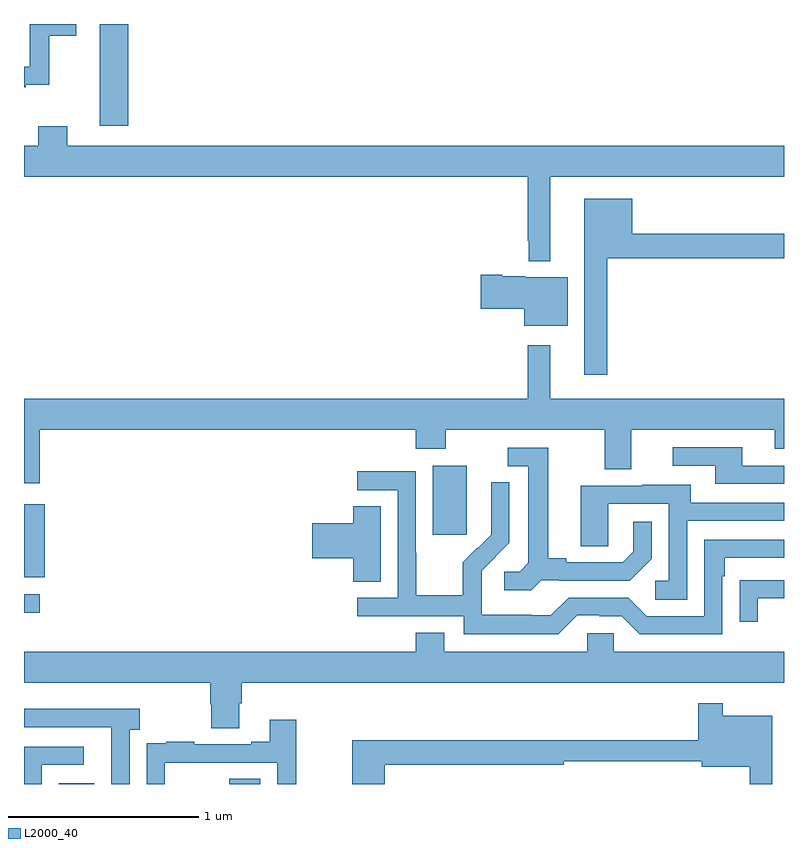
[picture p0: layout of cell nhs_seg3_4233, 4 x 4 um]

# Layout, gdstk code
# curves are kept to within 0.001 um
import gdstk
lib = gdstk.Library(unit=1e-6, precision=1e-09)
def R(c, l, rs):  # rectangles x0, y0, x1, y1
    for r in rs: c.add(gdstk.rectangle(r[:2], r[2:], *l))
def P(c, l, *ps):  # polygons
    for p in ps: c.add(gdstk.Polygon(p, *l))
L2000_40 = (2000, 40)

nhs_seg3_4233 = lib.new_cell('nhs_seg3_4233')
R(nhs_seg3_4233, L2000_40, [(335.183,684.4,335.371,684.403), (336.08,684.4,336.244,684.428), (335,685.301,335.083,685.398), (335,685.487,335.11,685.873), (337.151,685.713,337.33,686.074), (335.399,687.864,335.549,688.4)])
P(nhs_seg3_4233, L2000_40, [(335.009,688.079),(335.132,688.079),(335.132,688.339),(335.275,688.339),(335.275,688.4),(335.031,688.4),(335.031,688.176),(335,688.176),(335,688.068),(335.009,688.068)],
  [(337.771,687.596),(339,687.596),(339,687.76),(335.227,687.76),(335.227,687.862),(335.075,687.862),(335.075,687.76),(335,687.76),(335,687.596),(337.65,687.596),(337.65,687.259),(337.657,687.259),(337.657,687.152),(337.771,687.152)],
  [(338.071,687.166),(339,687.166),(339,687.295),(338.2,687.295),(338.2,687.481),(337.949,687.481),(337.949,686.553),(338.071,686.553)],
  [(337.861,687.067),(337.638,687.067),(337.638,687.073),(337.516,687.073),(337.516,687.08),(337.404,687.08),(337.404,686.902),(337.634,686.902),(337.634,686.813),(337.861,686.813)],
  [(335.084,686.264),(337.061,686.264),(337.061,686.165),(337.221,686.165),(337.221,686.264),(338.057,686.264),(338.057,686.056),(338.197,686.056),(338.197,686.264),(338.951,686.264),(338.951,686.165),(339,686.165),(339,686.428),(337.771,686.428),(337.771,686.71),(337.65,686.71),(337.65,686.428),(335,686.428),(335,685.983),(335.084,685.983)],
  [(339,686.076),(338.779,686.076),(338.779,686.172),(338.415,686.172),(338.415,686.076),(338.639,686.076),(338.639,685.98),(339,685.98)],
  [(337.722,685.473),(337.816,685.473),(337.816,685.47),(338.188,685.47),(338.304,685.586),(338.304,685.78),(338.207,685.78),(338.207,685.623),(338.15,685.566),(337.855,685.566),(337.855,685.589),(337.759,685.589),(337.759,686.169),(337.545,686.169),(337.545,686.073),(337.655,686.073),(337.655,685.565),(337.608,685.518),(337.527,685.518),(337.527,685.421),(337.67,685.421)],
  [(337.911,685.287),(338.027,685.287),(338.027,685.284),(338.145,685.284),(338.241,685.188),(338.676,685.188),(338.676,685.493),(338.689,685.493),(338.689,685.59),(339,685.59),(339,685.686),(338.58,685.686),(338.58,685.284),(338.277,685.284),(338.181,685.38),(337.866,685.38),(337.773,685.287),(337.673,685.287),(337.673,685.291),(337.41,685.291),(337.41,685.425),(337.408,685.425),(337.408,685.522),(337.554,685.67),(337.554,685.988),(337.458,685.988),(337.458,685.834),(337.46,685.834),(337.46,685.712),(337.389,685.641),(337.386,685.644),(337.309,685.567),(337.309,685.393),(337.065,685.393),(337.065,685.616),(337.062,685.616),(337.062,686.046),(336.753,686.046),(336.753,685.947),(336.966,685.947),(336.966,685.38),(336.753,685.38),(336.753,685.284),(337.314,685.284),(337.314,685.187),(337.811,685.187)],
  [(338.49,685.785),(339,685.785),(339,685.881),(338.509,685.881),(338.509,685.975),(338.255,685.975),(338.255,685.971),(337.931,685.971),(337.931,685.651),(338.076,685.651),(338.076,685.875),(338.394,685.875),(338.394,685.47),(338.322,685.47),(338.322,685.369),(338.49,685.369)],
  [(336.877,685.862),(336.734,685.862),(336.734,685.772),(336.516,685.772),(336.516,685.589),(336.734,685.589),(336.734,685.465),(336.877,685.465)],
  [(338.863,685.377),(339,685.377),(339,685.473),(338.869,685.473),(338.869,685.472),(338.767,685.472),(338.767,685.254),(338.863,685.254)],
  [(339,685.096),(338.103,685.096),(338.103,685.194),(337.965,685.194),(337.965,685.096),(337.213,685.096),(337.213,685.195),(337.061,685.195),(337.061,685.096),(335,685.096),(335,684.932),(335.981,684.932),(335.981,684.819),(335.986,684.819),(335.986,684.694),(336.133,684.694),(336.133,684.826),(336.146,684.826),(336.146,684.932),(339,684.932)],
  [(336.899,684.502),(337.841,684.502),(337.841,684.52),(338.567,684.52),(338.567,684.491),(338.821,684.491),(338.821,684.4),(338.938,684.4),(338.938,684.76),(338.677,684.76),(338.677,684.826),(338.548,684.826),(338.548,684.631),(336.728,684.631),(336.728,684.4),(336.899,684.4)],
  [(335.556,684.686),(335.608,684.686),(335.608,684.796),(335,684.796),(335,684.699),(335.459,684.699),(335.459,684.499),(335.46,684.499),(335.46,684.4),(335.556,684.4)],
  [(335.742,684.513),(336.333,684.513),(336.333,684.4),(336.434,684.4),(336.434,684.739),(336.293,684.739),(336.293,684.622),(336.197,684.622),(336.197,684.609),(335.897,684.609),(335.897,684.622),(335.749,684.622),(335.749,684.615),(335.647,684.615),(335.647,684.506),(335.646,684.506),(335.646,684.4),(335.742,684.4)],
  [(335.094,684.501),(335.314,684.501),(335.314,684.597),(335,684.597),(335,684.4),(335.094,684.4)])

lib.write_gds('nhs_seg3_4233.gds')
